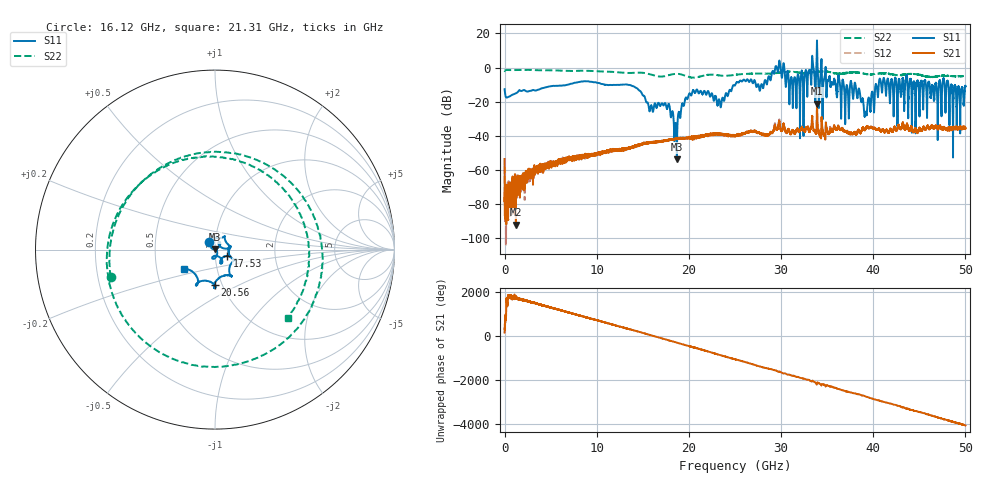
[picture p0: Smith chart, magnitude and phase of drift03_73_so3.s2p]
!Created with skrf (http://scikit-rf.org).
# Hz S RI R 50.0
!freq ReS11 ImS11 ReS21 ImS21 ReS12 ImS12 ReS22 ImS22
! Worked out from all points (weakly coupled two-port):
!   10001 points, 300 kHz to 50 GHz, reference 50 ohm
!   highest |S21| = -21.14 dB at 33.9 GHz (marker M1); lowest = -92.2 dB at 1.225 GHz (marker M2)
!   lowest |S11| = -53.7 dB at 18.69 GHz (marker M3), VSWR 1.00, Z = 49.9 + j0.16 ohm
!   |S11| at or under -10 dB: start of sweep to 6.943 GHz; 13.33 GHz to 25.05 GHz (11.72 GHz wide, 61.1 % of centre); 38.07 GHz to 40.26 GHz (2.186 GHz wide, 5.58 % of centre) (the widest 3 of 56)
!   |S22| runs from -5.9 to -1.3 dB; largest |S21 - S12| = 0.0075
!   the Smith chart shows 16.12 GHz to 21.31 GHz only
!   S11 on the Smith chart (normalised r, x): 16.12 GHz: 0.94, +0.08; 17.53 GHz: 1.14, -0.08; 20.56 GHz: 0.92, -0.38; 21.31 GHz: 0.69, -0.16
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300000  -0.21 -0.099  -0.00206 0.000343  0.0002 0.00128  -0.7667 -0.2006
1.225293e9  0.125 0.124  1.82e-05 1.65e-05  0.000282 -0.000365  0.6523 0.5402
3.165281e9  -0.2183 -0.00596  8.12e-05 0.000929  -9.4e-06 0.000954  -0.8438 -0.0167
4.665272e9  0.2636 0.0615  -0.000133 -0.00137  -9.35e-05 -0.00143  0.8191 0.1425
6.360262e9  -0.3002 0.000388  0.000506 0.0016  0.000592 0.00177  -0.8042 -0.0438
8.33525e9  0.284 -0.2671  -0.0022 -0.00109  -0.00242 -0.000867  0.6031 -0.5344
9.575243e9  -0.3718 -0.0481  0.00141 0.00236  0.00128 0.00237  -0.7857 -0.0963
1.124523e10  0.3059 0.0239  -0.00241 -0.0027  -0.00206 -0.00252  0.7573 0.0203
1.61152e10  -0.0317 0.0407  0.00605 0.00212  0.00627 0.00213  -0.5802 -0.1534
1.66702e10  0.0537 0.0752  0.00472 -0.00481  0.0046 -0.00493  -0.3618 0.4172
1.752519e10  0.0675 -0.0349  -0.00619 -0.00373  -0.00636 -0.00411  0.4901 0.2923
1.869019e10  -0.00131 0.0016  0.00241 0.00806  0.00237 0.00778  -0.0837 -0.648
2.056018e10  -0.00217 -0.1981  -0.00838 -0.00497  -0.0071 -0.00518  0.3606 0.3579
2.131017e10  -0.1723 -0.1097  -0.00544 0.00772  -0.00504 0.00796  0.4054 -0.3793
2.500015e10  -0.2964 -0.048  0.00796 0.00616  0.00775 0.00618  -0.1844 -0.5809
2.889013e10  -0.3576 0.2794  0.00829 -0.00975  0.00861 -0.00913  -0.6602 0.0972
3.051512e10  0.2389 -0.1278  -0.00154 0.0127  -0.00222 0.0128  0.7436 -0.0665
3.213011e10  0.203 0.3746  -0.000664 -0.0148  -0.000251 -0.0154  -0.7042 0.0109
3.33351e10  0.4867 -0.9748  -0.00517 0.0254  -0.00633 0.024  0.6153 0.3677
3.38951e10  -0.5487 -6.208  0.0868 0.0128  0.0812 0.0114  0.6761 -0.3201
4.167005e10  -0.2234 0.2825  -0.0114 -0.00433  -0.0118 -0.00518  -0.6518 -0.0544
5e10  -0.1374 -0.2473  0.000147 -0.0171  0.00137 -0.0166  0.4709 -0.3125
